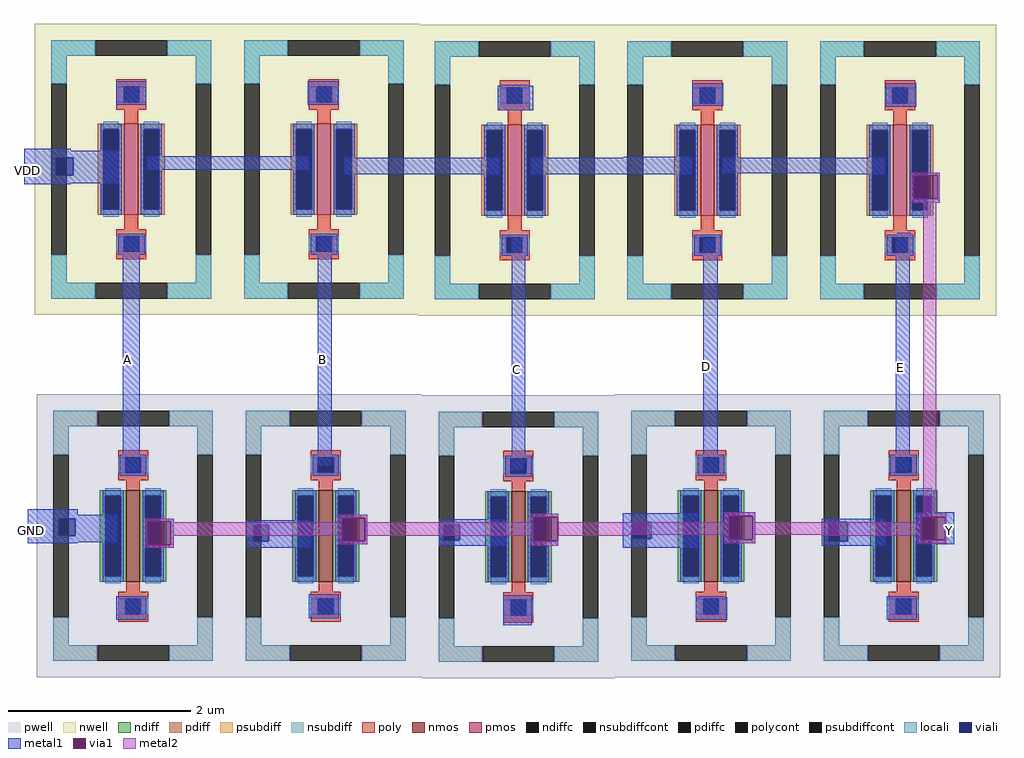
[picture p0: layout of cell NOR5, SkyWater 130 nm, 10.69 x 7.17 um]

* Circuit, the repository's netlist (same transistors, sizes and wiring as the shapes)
* SPICE3 file created from NOR5.ext - technology: sky130A

X0 XM7/D A VDD VDD sky130_fd_pr__pfet_01v8 ad=0.29 pd=2.58 as=0.29 ps=2.58 w=1 l=0.15
X1 Y A GND GND sky130_fd_pr__nfet_01v8 ad=0.29 pd=2.58 as=0.29 ps=2.58 w=1 l=0.15
X2 XM7/S B XM7/D VDD sky130_fd_pr__pfet_01v8 ad=0.58 pd=5.16 as=0.58 ps=5.16 w=1 l=0.15
X3 Y E XM9/D VDD sky130_fd_pr__pfet_01v8 ad=0.29 pd=2.58 as=0.58 ps=5.16 w=1 l=0.15
X4 Y B GND GND sky130_fd_pr__nfet_01v8 ad=1.45 pd=12.9 as=1.45 ps=12.9 w=1 l=0.15
X5 sky130_fd_pr__pfet_01v8_KBS6X7_1/D C XM7/S VDD sky130_fd_pr__pfet_01v8 ad=0.58 pd=5.16 as=0 ps=0 w=1 l=0.15
X6 XM9/D D sky130_fd_pr__pfet_01v8_KBS6X7_1/D VDD sky130_fd_pr__pfet_01v8 ad=0 pd=0 as=0 ps=0 w=1 l=0.15
X7 Y E GND GND sky130_fd_pr__nfet_01v8 ad=0 pd=0 as=0 ps=0 w=1 l=0.15
X8 Y D GND GND sky130_fd_pr__nfet_01v8 ad=0 pd=0 as=0 ps=0 w=1 l=0.15
X9 Y C GND GND sky130_fd_pr__nfet_01v8 ad=0 pd=0 as=0 ps=0 w=1 l=0.15
*C0 Y GND 2.660174f
*C1 VDD GND 5.432726f

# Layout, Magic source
magic
tech sky130A
magscale 1 2
<< nwell >>
rect 1110 1122 1260 1160
rect 1326 1124 1586 1158
<< pwell >>
rect 680 332 1390 360
rect 680 330 1118 332
<< viali >>
rect -134 1120 -96 1158
rect -128 330 -92 368
rect 298 318 332 354
rect 714 320 750 354
rect 1128 324 1170 360
rect 1558 318 1600 360
<< metal1 >>
rect -2 1274 64 1326
rect 418 1274 484 1326
rect 842 1316 900 1318
rect 834 1262 912 1316
rect 1260 1272 1328 1322
rect 1684 1270 1750 1322
rect -204 1174 -102 1178
rect -204 1158 2 1174
rect -204 1120 -134 1158
rect -96 1120 2 1158
rect 66 1132 420 1162
rect 1110 1158 1260 1160
rect 498 1122 838 1158
rect 906 1122 1260 1158
rect 1326 1124 1682 1158
rect 1542 1122 1682 1124
rect -204 1102 2 1120
rect 1738 1120 1802 1126
rect -204 1100 -102 1102
rect 1738 1068 1744 1120
rect 1798 1068 1802 1120
rect 1738 1060 1802 1068
rect 1710 990 1738 994
rect 1710 988 1736 990
rect 12 470 50 986
rect 440 484 470 986
rect 864 968 890 986
rect 864 490 894 968
rect 864 474 890 490
rect 1284 466 1316 982
rect 1706 478 1736 988
rect 1706 472 1732 478
rect -196 376 -86 388
rect -196 368 0 376
rect 486 370 548 376
rect -196 330 -128 368
rect -92 330 0 368
rect -196 316 0 330
rect 62 362 124 368
rect -196 314 -86 316
rect 62 310 66 362
rect 118 310 124 362
rect 62 304 124 310
rect 284 354 424 364
rect 284 318 298 354
rect 332 318 424 354
rect 284 304 424 318
rect 486 318 492 370
rect 544 318 548 370
rect 906 372 966 378
rect 486 312 548 318
rect 704 354 850 366
rect 704 320 714 354
rect 750 320 850 354
rect 704 308 850 320
rect 906 318 912 372
rect 906 308 966 318
rect 1108 360 1272 380
rect 1108 324 1128 360
rect 1170 324 1272 360
rect 1108 304 1272 324
rect 1330 374 1398 382
rect 1330 322 1340 374
rect 1392 322 1398 374
rect 1750 372 1834 382
rect 1330 314 1398 322
rect 1544 360 1684 368
rect 1544 318 1558 360
rect 1600 318 1684 360
rect 1544 308 1684 318
rect 1750 320 1762 372
rect 1814 320 1834 372
rect 1750 312 1834 320
rect -2 146 64 198
rect 420 150 486 202
rect 846 134 908 200
rect 1268 146 1336 196
rect 1686 146 1752 198
<< via1 >>
rect 1744 1068 1798 1120
rect 66 310 118 362
rect 492 318 544 370
rect 912 318 966 372
rect 1340 322 1392 374
rect 1762 320 1814 372
<< metal2 >>
rect 1738 1120 1802 1126
rect 1738 1068 1744 1120
rect 1798 1068 1802 1120
rect 1738 1060 1802 1068
rect 486 370 548 376
rect 62 362 124 368
rect 62 310 66 362
rect 118 360 124 362
rect 486 360 492 370
rect 118 330 492 360
rect 118 310 124 330
rect 486 318 492 330
rect 544 360 548 370
rect 906 372 966 378
rect 906 360 912 372
rect 544 330 912 360
rect 544 318 548 330
rect 486 312 548 318
rect 906 318 912 330
rect 1330 374 1398 382
rect 1766 378 1794 1060
rect 1330 360 1340 374
rect 966 332 1340 360
rect 966 330 1120 332
rect 62 304 124 310
rect 906 308 966 318
rect 1330 322 1340 332
rect 1392 360 1398 374
rect 1754 372 1816 378
rect 1754 360 1762 372
rect 1392 332 1762 360
rect 1392 322 1398 332
rect 1542 330 1762 332
rect 1330 314 1398 322
rect 1754 320 1762 330
rect 1814 320 1816 372
rect 1754 314 1816 320
use sky130_fd_pr__nfet_01v8_SFU2NW  sky130_fd_pr__nfet_01v8_SFU2NW_0 /home/apn/mag_gates
transform 1 0 1723 0 1 330
box -211 -310 211 310
use sky130_fd_pr__nfet_01v8_SFU2NW  sky130_fd_pr__nfet_01v8_SFU2NW_1
transform 1 0 879 0 1 328
box -211 -310 211 310
use sky130_fd_pr__nfet_01v8_SFU2NW  sky130_fd_pr__nfet_01v8_SFU2NW_2
transform 1 0 1301 0 1 330
box -211 -310 211 310
use sky130_fd_pr__pfet_01v8_KBS6X7  sky130_fd_pr__pfet_01v8_KBS6X7_0 /home/apn/mag_gates
transform 1 0 871 0 1 1131
box -211 -319 211 319
use sky130_fd_pr__pfet_01v8_KBS6X7  sky130_fd_pr__pfet_01v8_KBS6X7_1
transform 1 0 1293 0 1 1131
box -211 -319 211 319
use sky130_fd_pr__pfet_01v8_KBS6X7  XM5
transform 1 0 31 0 1 1133
box -211 -319 211 319
use sky130_fd_pr__nfet_01v8_SFU2NW  XM6
transform 1 0 35 0 1 330
box -211 -310 211 310
use sky130_fd_pr__pfet_01v8_KBS6X7  XM7
transform 1 0 453 0 1 1133
box -211 -319 211 319
use sky130_fd_pr__nfet_01v8_SFU2NW  XM8
transform 1 0 457 0 1 330
box -211 -310 211 310
use sky130_fd_pr__pfet_01v8_KBS6X7  XM9
transform 1 0 1715 0 1 1131
box -211 -319 211 319
<< labels >>
rlabel metal1 -196 1130 -196 1130 1 VDD
rlabel metal1 -188 342 -188 342 1 GND
rlabel metal1 22 716 22 716 1 A
rlabel metal1 450 716 450 716 1 B
rlabel metal1 874 694 874 694 1 C
rlabel metal1 1824 342 1824 342 1 Y
rlabel metal1 1292 700 1292 700 1 D
rlabel metal1 1716 698 1716 698 1 E
<< end >>

# cell sky130_fd_pr__nfet_01v8_SFU2NW: kit device sky130_fd_pr__nfet_01v8, w 1.0 l 0.15 m 1 nf 1 diffcov 100 polycov 100 guard 1 glc 1 grc 1 gtc 1 gbc 1 tbcov 100 rlcov 100 topc 1 botc 1 poverlap 0 doverlap 1 lmin 0.15 wmin 0.42 class mosfet compatible {sky130_fd_pr__nfet_01v8 sky130_fd_pr__nfet_01v8_lvt sky130_fd_bs_flash__special_sonosfet_star sky130_fd_pr__nfet_g5v0d10v5 sky130_fd_pr__nfet_05v0_nvt sky130_fd_pr__nfet_03v3_nvt} full_metal 1 viasrc 100 viadrn 100 viagate 100 viagb 0 viagr 0 viagl 0 viagt 0 doports 1 ad {int((nf+1)/2) * W/nf * 0.29} as {int((nf+2)/2) * W/nf * 0.29} pd {2*int((nf+1)/2) * (W/nf + 0.29)} ps {2*int((nf+2)/2) * (W/nf + 0.29)} nrd {0.29 / W} nrs {0.29 / W} sa 0 sb 0 sd 0 mult 1

# cell sky130_fd_pr__pfet_01v8_KBS6X7: kit device sky130_fd_pr__pfet_01v8, w 1.0 l 0.15 m 1 nf 1 diffcov 100 polycov 100 guard 1 glc 1 grc 1 gtc 1 gbc 1 tbcov 100 rlcov 100 topc 1 botc 1 poverlap 0 doverlap 1 lmin 0.15 wmin 0.42 class mosfet compatible {sky130_fd_pr__pfet_01v8 sky130_fd_pr__pfet_01v8_lvt sky130_fd_pr__pfet_01v8_hvt sky130_fd_pr__pfet_g5v0d10v5} full_metal 1 viasrc 100 viadrn 100 viagate 100 viagb 0 viagr 0 viagl 0 viagt 0 doports 1 ad {int((nf+1)/2) * W/nf * 0.29} as {int((nf+2)/2) * W/nf * 0.29} pd {2*int((nf+1)/2) * (W/nf + 0.29)} ps {2*int((nf+2)/2) * (W/nf + 0.29)} nrd {0.29 / W} nrs {0.29 / W} sa 0 sb 0 sd 0 mult 1
